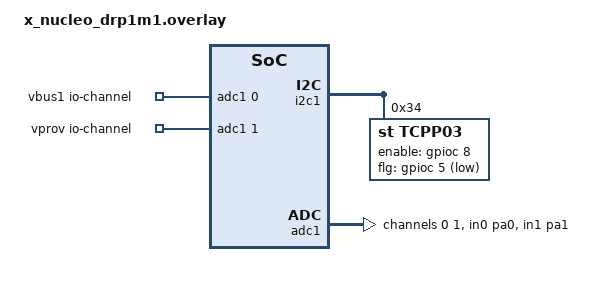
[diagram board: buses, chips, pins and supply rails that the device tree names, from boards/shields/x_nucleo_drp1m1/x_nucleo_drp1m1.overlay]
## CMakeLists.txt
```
# PD bench: a scriptable USB Power Delivery partner (embarch-host-study-proposal.md,
# phase 1). Not the dev-bench wire: a Zephyr shell on the board's console.

cmake_minimum_required(VERSION 3.20.0)

# The expansion board is a shield of this app (boards/shields/): the SNK1M1
# sink unless -DSHIELD=x_nucleo_drp1m1 asks for the dual-role DRP1M1
list(APPEND BOARD_ROOT ${CMAKE_CURRENT_SOURCE_DIR})
if(NOT DEFINED SHIELD)
  set(SHIELD x_nucleo_snk1m1)
endif()

find_package(Zephyr REQUIRED HINTS $ENV{ZEPHYR_BASE})
project(pd_bench)

target_sources(app PRIVATE src/main.c src/pd_logic.c)
target_sources_ifdef(CONFIG_USBC_CSM_DRP app PRIVATE src/tcpp03.c)
```

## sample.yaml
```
sample:
  name: PD bench
  description: A USB Power Delivery partner scripted over its shell
common:
  build_only: true
  platform_allow: nucleo_g0b1re
  integration_platforms:
    - nucleo_g0b1re
  tags: pd_bench
tests:
  pd_bench.snk1m1:
    tags: snk1m1
  pd_bench.drp1m1:
    tags: drp1m1
    extra_args: SHIELD=x_nucleo_drp1m1
```

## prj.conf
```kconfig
CONFIG_USBC_STACK=y
CONFIG_USBC_THREAD_PRIORITY=14
CONFIG_USBC_STACK_LOG_LEVEL_INF=y
CONFIG_ADC=y
CONFIG_GPIO=y
CONFIG_LOG=y
CONFIG_SHELL=y
CONFIG_ASSERT=y
CONFIG_MAIN_STACK_SIZE=2048
CONFIG_DEVMEM_SHELL=y
```

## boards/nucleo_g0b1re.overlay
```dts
/*
 * NUCLEO-G0B1RE: UCPD1 on CC1 PA8 and CC2 PB15, the pins both expansion
 * boards use. The rest comes from the shield (boards/shields/).
 */

#include <zephyr/dt-bindings/dma/stm32_dma.h>

&dma1 {
	status = "okay";
};

&dmamux1 {
	status = "okay";
};

&ucpd1 {
	status = "okay";
	/* HSI 16 MHz / 27 = 592.6 kHz half-bit clock, as on the STM32G081B-EVAL */
	psc-ucpdclk = <1>;
	hbitclkdiv = <27>;
	pinctrl-0 = <&ucpd1_cc1_pa8 &ucpd1_cc2_pb15>;
	pinctrl-names = "default";
	/*
	 * Messages by DMA (DMAMUX requests 58 UCPD1_RX, 59 UCPD1_TX): one
	 * interrupt per byte underran the transmitter and sent zero bytes
	 * under a valid CRC
	 */
	dmas = <&dmamux1 0 58 (STM32_DMA_PERIPH_RX | STM32_DMA_PRIORITY_VERY_HIGH)>,
	       <&dmamux1 1 59 (STM32_DMA_PERIPH_TX | STM32_DMA_PRIORITY_VERY_HIGH)>;
	dma-names = "rx", "tx";
};
```

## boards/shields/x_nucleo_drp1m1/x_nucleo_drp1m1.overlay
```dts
/*
 * X-NUCLEO-DRP1M1 (TCPP03-M20 dual-role protection) on a Nucleo-64 with an
 * STM32G0 (NUCLEO-G0B1RE, NUCLEO-G071RB).
 *
 * Pins as ST's X-CUBE-TCPP DRP1M1_DRP example sets them for the
 * NUCLEO-G071RB (drp1m1_conf.h, DRP1M1_DRP.ioc): CC1 PA8 and CC2 PB15 on
 * UCPD1, the TCPP03 on I2C1 (PB8 SCL, PB9 SDA) at 0x34 (0x68 in ST's 8-bit
 * form), ENABLE on PC8, FLGn on PC5, VBUS at the connector on PA0 =
 * ADC1_IN0 and the provider path (CN3) on PA1 = ADC1_IN1, both through
 * 200 k over 40.2 k (UM2891 1.7). No jumper on the DRP1M1: JP1 would feed
 * the Nucleo from the shield's LDO.
 *
 * The provider path switches the CN3 supply onto VBUS as it is: the bench
 * only offers 5 V, and checks CN3 is at vSafe5V before it sources.
 */

#include <zephyr/dt-bindings/usb-c/pd.h>

/ {
	aliases {
		usbc-port0 = &port1;
	};

	vbus1: vbus {
		compatible = "zephyr,usb-c-vbus-adc";
		io-channels = <&adc1 0>;
		output-ohms = <40200>;
		full-ohms = <(200000 + 40200)>;
	};

	vprov: vprov {
		compatible = "zephyr,usb-c-vbus-adc";
		io-channels = <&adc1 1>;
		output-ohms = <40200>;
		full-ohms = <(200000 + 40200)>;
	};

	ports {
		#address-cells = <1>;
		#size-cells = <0>;

		port1: usbc-port@1 {
			compatible = "usb-c-connector";
			reg = <1>;
			tcpc = <&ucpd1>;
			vbus = <&vbus1>;
			power-role = "dual";
			/* The most the bench offers as a source: pd srccaps stays within it */
			source-pdos = <PDO_FIXED(5000, 3000, PDO_FIXED_DUAL_ROLE)>;
			sink-pdos = <PDO_FIXED(5000, 3000, PDO_FIXED_DUAL_ROLE)
				     PDO_FIXED(9000, 3000, 0)
				     PDO_FIXED(15000, 3000, 0)
				     PDO_FIXED(20000, 3000, 0)
				     PDO_PPS_APDO(3300, 21000, 3000)>;
		};
	};
};

&i2c1 {
	tcpp03: tcpp03@34 {
		compatible = "st,tcpp03";
		reg = <0x34>;
		enable-gpios = <&gpioc 8 GPIO_ACTIVE_HIGH>;
		flg-gpios = <&gpioc 5 GPIO_ACTIVE_LOW>;
	};
};

/* PC5 is FLGn on the DRP1M1, not USART1 RX */
&usart1 {
	status = "disabled";
};

&adc1 {
	pinctrl-0 = <&adc1_in0_pa0 &adc1_in1_pa1>;
	pinctrl-names = "default";
	#address-cells = <1>;
	#size-cells = <0>;

	/* The dividers are about 33 k: the shortest sampling reads 13 % low */
	channel@0 {
		reg = <0>;
		zephyr,gain = "ADC_GAIN_1";
		zephyr,reference = "ADC_REF_INTERNAL";
		zephyr,acquisition-time = <ADC_ACQ_TIME_MAX>;
		zephyr,resolution = <12>;
		zephyr,vref-mv = <3300>;
	};

	channel@1 {
		reg = <1>;
		zephyr,gain = "ADC_GAIN_1";
		zephyr,reference = "ADC_REF_INTERNAL";
		zephyr,acquisition-time = <ADC_ACQ_TIME_MAX>;
		zephyr,resolution = <12>;
		zephyr,vref-mv = <3300>;
	};
};
```

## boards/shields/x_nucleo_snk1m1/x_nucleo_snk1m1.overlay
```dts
/*
 * X-NUCLEO-SNK1M1 (TCPP01-M12 sink protection) on a Nucleo-64 with an STM32G0
 * (NUCLEO-G0B1RE, NUCLEO-G071RB).
 *
 * Pins as ST's X-CUBE-TCPP SNK1M1 examples set them for the Nucleo-64
 * pinout: CC1 PA8 and CC2 PB15 on UCPD1, VBUS divider (200 k over 40 k)
 * on PB1 = ADC1_IN9, DB_OUT on PB6 (high: the TCPP01 releases its
 * dead-battery Rd to the UCPD), VCC_OUT on PC10 (high: TCPP01 supply).
 * On the SNK1M1, JP3 (LDO_OUT) and JP4 (RESET) off and J1/J2 in position
 * 1-2: fitted, JP4 holds the MCU in reset until USB-C powers the board.
 */

#include <zephyr/dt-bindings/usb-c/pd.h>

/ {
	aliases {
		usbc-port0 = &port1;
	};

	zephyr,user {
		tcpp-vcc-gpios = <&gpioc 10 GPIO_ACTIVE_HIGH>;
		tcpp-db-gpios = <&gpiob 6 GPIO_ACTIVE_HIGH>;
	};

	vbus1: vbus {
		compatible = "zephyr,usb-c-vbus-adc";
		io-channels = <&adc1 9>;
		output-ohms = <40000>;
		full-ohms = <(200000 + 40000)>;
	};

	ports {
		#address-cells = <1>;
		#size-cells = <0>;

		port1: usbc-port@1 {
			compatible = "usb-c-connector";
			reg = <1>;
			tcpc = <&ucpd1>;
			vbus = <&vbus1>;
			power-role = "sink";
			sink-pdos = <PDO_FIXED(5000, 3000, 0)
				     PDO_FIXED(9000, 3000, 0)
				     PDO_FIXED(15000, 3000, 0)
				     PDO_FIXED(20000, 3000, 0)
				     PDO_PPS_APDO(3300, 21000, 3000)>;
		};
	};
};

&adc1 {
	pinctrl-0 = <&adc1_in9_pb1>;
	pinctrl-names = "default";
	#address-cells = <1>;
	#size-cells = <0>;

	channel@9 {
		reg = <9>;
		zephyr,gain = "ADC_GAIN_1";
		zephyr,reference = "ADC_REF_INTERNAL";
		/* The divider is about 33 k: the shortest sampling reads 13 % low */
		zephyr,acquisition-time = <ADC_ACQ_TIME_MAX>;
		zephyr,resolution = <12>;
		zephyr,vref-mv = <3300>;
	};
};
```

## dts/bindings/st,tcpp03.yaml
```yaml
description: |
  STMicroelectronics TCPP03-M20 USB Type-C port protection with VBUS provider
  and consumer gate drivers. No Zephyr driver: the PD bench app drives it over
  I2C (src/tcpp03.c).

compatible: "st,tcpp03"

include: i2c-device.yaml

properties:
  enable-gpios:
    type: phandle-array
    required: true
    description: ENABLE, which powers the TCPP03's I2C interface

  flg-gpios:
    type: phandle-array
    required: true
    description: FLGn, open drain, low on a fault in Normal mode
```

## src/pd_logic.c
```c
/* PD bench: the pure half of the app (pd_logic.h). */

#include "pd_logic.h"

#include <errno.h>
#include <stdlib.h>
#include <string.h>

#include <zephyr/dt-bindings/usb-c/pd.h>
#include <zephyr/sys/util.h>

/* Power in mW from mV and mA */
#define MW(mv, ma) ((mv) * (ma) / 1000)
/* A base-10 number */
#define DECIMAL    10

bool PdLogicPdoIsFixed(uint32_t pdo)
{
	union pd_fixed_supply_pdo_source fixed = {.raw_value = pdo};

	return fixed.type == PDO_FIXED;
}

bool PdLogicPdoIsPps(uint32_t pdo)
{
	union pd_augmented_supply_pdo_source aug = {.raw_value = pdo};

	return aug.type == PDO_AUGMENTED &&
	       ((pdo >> PDO_APDO_TYPE_SHIFT) & PDO_APDO_TYPE_MASK) == APDO_TYPE_PPS;
}

int PdLogicFixedMv(uint32_t pdo)
{
	union pd_fixed_supply_pdo_source fixed = {.raw_value = pdo};

	return PD_CONVERT_FIXED_PDO_VOLTAGE_TO_MV(fixed.voltage);
}

int PdLogicFixedMa(uint32_t pdo)
{
	union pd_fixed_supply_pdo_source fixed = {.raw_value = pdo};

	return PD_CONVERT_FIXED_PDO_CURRENT_TO_MA(fixed.max_current);
}

uint32_t PdLogicRdoFixed(int pos, int ma)
{
	union pd_rdo rdo = {.raw_value = 0};

	rdo.fixed.object_pos = pos;
	rdo.fixed.operating_current = PD_CONVERT_MA_TO_FIXED_PDO_CURRENT(ma);
	rdo.fixed.min_or_max_operating_current = PD_CONVERT_MA_TO_FIXED_PDO_CURRENT(ma);
	rdo.fixed.no_usb_suspend = 1;

	return rdo.raw_value;
}

uint32_t PdLogicRdoPps(int pos, int mv, int ma)
{
	union pd_rdo rdo = {.raw_value = 0};

	rdo.augmented.object_pos = pos;
	rdo.augmented.output_voltage = PD_LOGIC_MV_TO_PPS_RDO_VOLTAGE(mv);
	rdo.augmented.operating_current = PD_CONVERT_MA_TO_AUGMENTED_PDO_CURRENT(ma);
	rdo.augmented.no_usb_suspend = 1;

	return rdo.raw_value;
}

int PdLogicRdoPos(uint32_t rdo)
{
	union pd_rdo r = {.raw_value = rdo};

	return r.fixed.object_pos;
}

uint32_t PdLogicRdoHighestPower(const uint32_t *caps, int cnt)
{
	int best_pos = 1;
	int best_mw = -1;
	int best_ma = PD_LOGIC_SAFE_MA;

	for (int i = 0; i < cnt; i++) {
		uint32_t pdo = caps[i];
		int ma;
		int mw;

		if (!PdLogicPdoIsFixed(pdo)) {
			continue;
		}
		ma = MIN(PdLogicFixedMa(pdo), PD_LOGIC_CABLE_MA);
		mw = MW(PdLogicFixedMv(pdo), ma);
		if (mw > best_mw) {
			best_mw = mw;
			best_pos = i + 1;
			best_ma = ma;
		}
	}

	return PdLogicRdoFixed(best_pos, best_ma);
}

uint32_t PdLogicRdoFor(const uint32_t *caps, int cnt, const struct pd_logic_want *want,
		       const char **why)
{
	uint32_t pdo;

	if (cnt == 0) {
		*why = "no source caps";
		return 0;
	}
	if (want->kind == PD_LOGIC_WANT_HIGHEST_POWER) {
		return PdLogicRdoHighestPower(caps, cnt);
	}
	if (want->pos < 1 || want->pos > cnt) {
		*why = "position not offered";
		return 0;
	}

	pdo = caps[want->pos - 1];
	if (want->kind == PD_LOGIC_WANT_FIXED) {
		if (!PdLogicPdoIsFixed(pdo)) {
			*why = "not a fixed PDO";
			return 0;
		}
		if (want->ma > PdLogicFixedMa(pdo)) {
			*why = "current above the PDO";
			return 0;
		}
		return PdLogicRdoFixed(want->pos,
				       want->ma > 0 ? want->ma
						    : MIN(PdLogicFixedMa(pdo), PD_LOGIC_CABLE_MA));
	}

	if (!PdLogicPdoIsPps(pdo)) {
		*why = "not a PPS APDO";
		return 0;
	}

	union pd_augmented_supply_pdo_source aug = {.raw_value = pdo};

	if (want->mv < PD_CONVERT_AUGMENTED_PDO_VOLTAGE_TO_MV(aug.min_voltage) ||
	    want->mv > PD_CONVERT_AUGMENTED_PDO_VOLTAGE_TO_MV(aug.max_voltage)) {
		*why = "voltage outside the APDO";
		return 0;
	}
	if (want->ma > PD_CONVERT_AUGMENTED_PDO_CURRENT_TO_MA(aug.max_current)) {
		*why = "current above the APDO";
		return 0;
	}

	return PdLogicRdoPps(want->pos, want->mv, want->ma);
}

bool PdLogicRequestFits(uint32_t pdo, uint32_t request)
{
	union pd_rdo rdo = {.raw_value = request};
	union pd_fixed_supply_pdo_source fixed = {.raw_value = pdo};

	return pdo != 0 && PdLogicPdoIsFixed(pdo) &&
	       rdo.fixed.operating_current <= fixed.max_current;
}

int PdLogicParseInt(const char *s, int *val)
{
	char *end;
	long v = strtol(s, &end, DECIMAL);

	if (*s == '\0' || *end != '\0' || v < 0 || v > PD_LOGIC_NUMBER_MAX) {
		return -EINVAL;
	}
	*val = (int)v;

	return 0;
}

/* Refuses with `err` and the voltage it concerns */
static int offer_refuse(struct pd_logic_offer_refusal *refusal, enum pd_logic_offer_err err, int mv)
{
	refusal->err = err;
	refusal->mv = mv;

	return -EINVAL;
}

int PdLogicOfferPdo(char *arg, int prev_mv, const uint32_t *offer_max, size_t offer_max_cnt,
		    uint32_t *pdo, int *mv, struct pd_logic_offer_refusal *refusal)
{
	char *colon = strchr(arg, ':');
	int ma;

	*refusal = (struct pd_logic_offer_refusal){.err = PD_LOGIC_OFFER_OK};
	if (colon == NULL) {
		return offer_refuse(refusal, PD_LOGIC_OFFER_NO_COLON, 0);
	}
	*colon = '\0';
	if (PdLogicParseInt(arg, mv) < 0) {
		refusal->bad_number = arg;
		return offer_refuse(refusal, PD_LOGIC_OFFER_BAD_NUMBER, 0);
	}
	if (PdLogicParseInt(colon + 1, &ma) < 0) {
		refusal->bad_number = colon + 1;
		return offer_refuse(refusal, PD_LOGIC_OFFER_BAD_NUMBER, *mv);
	}
	if (prev_mv == 0 && *mv != PD_LOGIC_FIRST_PDO_MV) {
		return offer_refuse(refusal, PD_LOGIC_OFFER_FIRST_NOT_5V, *mv);
	}
	if (*mv <= prev_mv) {
		return offer_refuse(refusal, PD_LOGIC_OFFER_NOT_RISING, *mv);
	}
	for (size_t i = 0; i < offer_max_cnt; i++) {
		if (!PdLogicPdoIsFixed(offer_max[i]) || PdLogicFixedMv(offer_max[i]) != *mv) {
			continue;
		}
		if (ma < PD_LOGIC_OFFER_MIN_MA || ma > PdLogicFixedMa(offer_max[i])) {
			refusal->max_ma = PdLogicFixedMa(offer_max[i]);
			return offer_refuse(refusal, PD_LOGIC_OFFER_CURRENT_OUT_OF_RANGE, *mv);
		}
		*pdo = (offer_max[i] & ~(PDO_CURR_MASK << PDO_FIXED_CURR_SHIFT)) |
		       PDO_FIXED_CURR(ma);
		return 0;
	}

	return offer_refuse(refusal, PD_LOGIC_OFFER_NOT_IN_DEVICETREE, *mv);
}
```

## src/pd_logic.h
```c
/* PD bench: the pure half of the app, PDO and RDO arithmetic and the shell's choice rules.
 *
 * No shell, kernel or device call lives here, so tests/logic runs it on
 * native_sim. main.c keeps the locking, the stack callbacks and every line the
 * shell prints.
 */

#ifndef PD_BENCH_PD_LOGIC_H_
#define PD_BENCH_PD_LOGIC_H_

#include <stdbool.h>
#include <stddef.h>
#include <stdint.h>

#include <zephyr/drivers/usb_c/usbc_pd.h>

/* `pd max` never asks for more than a cable without an e-marker carries */
#define PD_LOGIC_CABLE_MA     3000
/* What a 5 V Request asks for when nothing better is valid */
#define PD_LOGIC_SAFE_MA      500
/* A Source_Capabilities' first PDO is the vSafe5V one */
#define PD_LOGIC_FIRST_PDO_MV 5000
/* The least current `pd srccaps` offers in a PDO */
#define PD_LOGIC_OFFER_MIN_MA 10
/* The largest number the shell takes */
#define PD_LOGIC_NUMBER_MAX   100000

/* A PPS RDO's Output Voltage is in 20 mV units; usbc_pd.h has no macro for it */
#define PD_LOGIC_PPS_RDO_MV_PER_UNIT       20
#define PD_LOGIC_MV_TO_PPS_RDO_VOLTAGE(mv) ((mv) / PD_LOGIC_PPS_RDO_MV_PER_UNIT)
#define PD_LOGIC_PPS_RDO_VOLTAGE_TO_MV(v)  ((v) * PD_LOGIC_PPS_RDO_MV_PER_UNIT)

/* What the bench asks for as a sink */
enum pd_logic_want_kind {
	/* The highest power fixed PDO, at most PD_LOGIC_CABLE_MA: `pd max` */
	PD_LOGIC_WANT_HIGHEST_POWER,
	/* A fixed PDO, at its current or less: `pd req` */
	PD_LOGIC_WANT_FIXED,
	/* A PPS APDO at a voltage and current: `pd pps` */
	PD_LOGIC_WANT_PPS,
};

struct pd_logic_want {
	enum pd_logic_want_kind kind;
	/* 1-based object position; 0 mA for a fixed PDO means its own current */
	int pos;
	int mv;
	int ma;
};

/* Why `pd srccaps` refused one <mV>:<mA> PDO */
enum pd_logic_offer_err {
	PD_LOGIC_OFFER_OK,
	PD_LOGIC_OFFER_NO_COLON,
	PD_LOGIC_OFFER_BAD_NUMBER,
	PD_LOGIC_OFFER_FIRST_NOT_5V,
	PD_LOGIC_OFFER_NOT_RISING,
	PD_LOGIC_OFFER_CURRENT_OUT_OF_RANGE,
	PD_LOGIC_OFFER_NOT_IN_DEVICETREE,
	PD_LOGIC_OFFER_ERR_MAX,
};

/* A refusal: the reason, the text that was not a number, the voltage and the most it offers */
struct pd_logic_offer_refusal {
	enum pd_logic_offer_err err;
	const char *bad_number;
	int mv;
	int max_ma;
};

/* Whether a PDO is a fixed supply PDO */
bool PdLogicPdoIsFixed(uint32_t pdo);

/* Whether a PDO is a PPS APDO */
bool PdLogicPdoIsPps(uint32_t pdo);

/* A fixed PDO's voltage in mV */
int PdLogicFixedMv(uint32_t pdo);

/* A fixed PDO's maximum current in mA */
int PdLogicFixedMa(uint32_t pdo);

/* The RDO asking fixed PDO `pos` for `ma` operating and maximum current, No USB Suspend set */
uint32_t PdLogicRdoFixed(int pos, int ma);

/* The RDO asking PPS APDO `pos` for `mv` and `ma`, No USB Suspend set */
uint32_t PdLogicRdoPps(int pos, int mv, int ma);

/* The 1-based object position an RDO names */
int PdLogicRdoPos(uint32_t rdo);

/* `pd max`: the highest power fixed PDO at most PD_LOGIC_CABLE_MA, ties to the lower voltage */
uint32_t PdLogicRdoHighestPower(const uint32_t *caps, int cnt);

/* The RDO for a choice against the caps held, or 0 with the reason it is not valid in `why` */
uint32_t PdLogicRdoFor(const uint32_t *caps, int cnt, const struct pd_logic_want *want,
		       const char **why);

/* The source's Request check: a fixed PDO whose current covers the Request's operating current */
bool PdLogicRequestFits(uint32_t pdo, uint32_t request);

/* A shell number: decimal digits only, 0 to PD_LOGIC_NUMBER_MAX; -EINVAL otherwise */
int PdLogicParseInt(const char *s, int *val);

/*
 * One `pd srccaps` PDO, <mV>:<mA>: the first at PD_LOGIC_FIRST_PDO_MV, each above `prev_mv`
 * (0 for the first), at a voltage `offer_max` lists and within its current. Writes the PDO
 * and its voltage, or returns -EINVAL with the refusal. Cuts `arg` at its colon.
 */
int PdLogicOfferPdo(char *arg, int prev_mv, const uint32_t *offer_max, size_t offer_max_cnt,
		    uint32_t *pdo, int *mv, struct pd_logic_offer_refusal *refusal);

#endif /* PD_BENCH_PD_LOGIC_H_ */
```

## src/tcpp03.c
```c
/* TCPP03-M20 on the X-NUCLEO-DRP1M1, over I2C.
 *
 * Register map and sequences from ST's stm32-tcpp0203 driver (tcpp0203.h) and
 * the X-CUBE-TCPP DRP1M1 BSP (drp1m1_usbpd_pwr.c). Register 0 is the control
 * byte, written whole; register 1 acknowledges it; register 2 holds the fault
 * flags. Normal mode throughout: the TCPP03's dead-battery Rd is off, so the
 * UCPD toggles Rp and Rd itself, and FLGn falls only on a fault. A fault opens
 * both paths; only the recovery word clears it (UM2891 1.9).
 */

#include <errno.h>

#include <zephyr/device.h>
#include <zephyr/devicetree.h>
#include <zephyr/drivers/gpio.h>
#include <zephyr/drivers/i2c.h>
#include <zephyr/kernel.h>
#include <zephyr/logging/log.h>

#include "tcpp03.h"

LOG_MODULE_REGISTER(tcpp03, LOG_LEVEL_INF);

#define TCPP03_NODE DT_COMPAT_GET_ANY_STATUS_OKAY(st_tcpp03)

#define REG_CTRL  0x00
#define REG_ACK   0x01
#define REG_FLAGS 0x02

/* Register 0: GDP closed connects the provider path, GDC set opens the consumer path */
#define CTRL_GDP_CLOSED     BIT(2)
#define CTRL_GDC_OPEN       BIT(3)
#define CTRL_MODE_NORMAL    (1 << 4)
#define CTRL_VBUS_DISCHARGE BIT(6)

/* Both paths open: also the recovery word for Normal mode (UM2891 1.9) */
#define CTRL_OPEN       (CTRL_MODE_NORMAL | CTRL_GDC_OPEN)
#define CTRL_IDLE       CTRL_MODE_NORMAL
#define CTRL_SOURCE     (CTRL_MODE_NORMAL | CTRL_GDC_OPEN | CTRL_GDP_CLOSED)
#define CTRL_SOURCE_OFF (CTRL_MODE_NORMAL | CTRL_GDC_OPEN | CTRL_VBUS_DISCHARGE)

/* Register 2 bit 7 is set on a TCPP02, which has no consumer gate driver */
#define FLAG_TCPP02 BIT(7)
#define FLAG_FAULTS                                                                                \
	(TCPP03_FLAG_OCP_VCONN | TCPP03_FLAG_OCP_VBUS | TCPP03_FLAG_OVP_VBUS |                     \
	 TCPP03_FLAG_OVP_CC | TCPP03_FLAG_OTP)

/* ST's BSP waits this long between opening the consumer path and closing the provider path */
#define GATE_SWAP_MS 2

static const struct i2c_dt_spec i2c = I2C_DT_SPEC_GET(TCPP03_NODE);
static const struct gpio_dt_spec enable = GPIO_DT_SPEC_GET(TCPP03_NODE, enable_gpios);
static const struct gpio_dt_spec flg = GPIO_DT_SPEC_GET(TCPP03_NODE, flg_gpios);

static K_MUTEX_DEFINE(lock);
static uint8_t ctrl;
static tcpp03_fault_cb_t fault_cb;
static struct gpio_callback flg_cb;
static struct k_work fault_work;

static int ctrl_write(uint8_t val)
{
	int ret = i2c_reg_write_byte_dt(&i2c, REG_CTRL, val);

	if (ret == 0) {
		ctrl = val;
	}

	return ret;
}

static void fault_handler(struct k_work *work)
{
	uint8_t flags = 0;
	int ret;

	ARG_UNUSED(work);

	k_mutex_lock(&lock, K_FOREVER);
	ret = i2c_reg_read_byte_dt(&i2c, REG_FLAGS, &flags);
	if (ret == 0 && (flags & FLAG_FAULTS) != 0) {
		ret = ctrl_write(CTRL_OPEN);
		if (ret == 0) {
			ret = ctrl_write(CTRL_IDLE);
		}
	}
	k_mutex_unlock(&lock);

	if (ret == 0 && (flags & FLAG_FAULTS) == 0) {
		LOG_WRN("FLGn fell without a fault flag (0x%02x)", flags);
		return;
	}
	if (ret < 0) {
		LOG_ERR("fault flags not read or cleared: %d", ret);
	} else {
		LOG_ERR("fault, flags 0x%02x: both paths open", flags);
	}
	fault_cb(flags & FLAG_FAULTS);
}

static void flg_isr(const struct device *port, struct gpio_callback *cb, uint32_t pins)
{
	ARG_UNUSED(port);
	ARG_UNUSED(cb);
	ARG_UNUSED(pins);

	k_work_submit(&fault_work);
}

int tcpp03_init(tcpp03_fault_cb_t cb)
{
	uint8_t flags;
	int ret;

	if (!i2c_is_ready_dt(&i2c) || !gpio_is_ready_dt(&enable) || !gpio_is_ready_dt(&flg)) {
		return -ENODEV;
	}

	fault_cb = cb;
	k_work_init(&fault_work, fault_handler);

	ret = gpio_pin_configure_dt(&enable, GPIO_OUTPUT_ACTIVE);
	if (ret < 0) {
		return ret;
	}
	/* The I2C interface is powered from ENABLE */
	k_msleep(1);

	ret = i2c_reg_read_byte_dt(&i2c, REG_FLAGS, &flags);
	if (ret < 0) {
		return ret;
	}
	if (flags & FLAG_TCPP02) {
		LOG_ERR("a TCPP02, not a TCPP03");
		return -ENODEV;
	}

	/* A fault latched before an MCU reset survives it: the recovery word clears it */
	ret = ctrl_write(CTRL_OPEN);
	if (ret == 0) {
		ret = ctrl_write(CTRL_IDLE);
	}
	if (ret < 0) {
		return ret;
	}

	ret = gpio_pin_configure_dt(&flg, GPIO_INPUT);
	if (ret < 0) {
		return ret;
	}
	gpio_init_callback(&flg_cb, flg_isr, BIT(flg.pin));
	ret = gpio_add_callback(flg.port, &flg_cb);
	if (ret < 0) {
		return ret;
	}

	return gpio_pin_interrupt_configure_dt(&flg, GPIO_INT_EDGE_TO_ACTIVE);
}

int tcpp03_source(bool on)
{
	int ret;

	k_mutex_lock(&lock, K_FOREVER);
	if (on) {
		/* The TCPP03 refuses both paths closed; ST's BSP opens the consumer path first */
		ret = ctrl_write(CTRL_OPEN);
		if (ret == 0) {
			k_msleep(GATE_SWAP_MS);
			ret = ctrl_write(CTRL_SOURCE);
		}
	} else {
		ret = ctrl_write(CTRL_SOURCE_OFF);
	}
	k_mutex_unlock(&lock);

	return ret;
}

int tcpp03_idle(void)
{
	int ret;

	k_mutex_lock(&lock, K_FOREVER);
	ret = ctrl_write(CTRL_IDLE);
	k_mutex_unlock(&lock);

	return ret;
}

int tcpp03_regs(uint8_t *ctrl_out, uint8_t *ack, uint8_t *flags)
{
	int ret;

	k_mutex_lock(&lock, K_FOREVER);
	*ctrl_out = ctrl;
	ret = i2c_reg_read_byte_dt(&i2c, REG_ACK, ack);
	if (ret == 0) {
		ret = i2c_reg_read_byte_dt(&i2c, REG_FLAGS, flags);
	}
	k_mutex_unlock(&lock);

	return ret;
}
```

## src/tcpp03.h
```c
/* TCPP03-M20 USB Type-C port protection, driven over I2C: the X-NUCLEO-DRP1M1's
 * provider (source) and consumer (sink) paths, VBUS discharge and fault flags.
 */

#ifndef PD_BENCH_TCPP03_H_
#define PD_BENCH_TCPP03_H_

#include <stdbool.h>
#include <stdint.h>

#include <zephyr/sys/util.h>

/* Register 2 fault flags; any of them opens both paths until the recovery word */
#define TCPP03_FLAG_OCP_VCONN BIT(0)
#define TCPP03_FLAG_OCP_VBUS  BIT(1)
#define TCPP03_FLAG_OVP_VBUS  BIT(2)
#define TCPP03_FLAG_OVP_CC    BIT(3)
#define TCPP03_FLAG_OTP       BIT(4)
#define TCPP03_FLAG_VBUS_OK   BIT(5)

/* Called from the system work queue after a fault, the flags already cleared */
typedef void (*tcpp03_fault_cb_t)(uint8_t flags);

/* Enable the TCPP03, clear any fault and leave it idle in Normal mode */
int tcpp03_init(tcpp03_fault_cb_t cb);

/*
 * On, the consumer path opens, then the provider path closes onto VBUS. Off,
 * the provider path opens and VBUS discharges until tcpp03_idle().
 */
int tcpp03_source(bool on);

/* No sourcing, no discharge, the consumer path closed: the sink's and the toggling port's state */
int tcpp03_idle(void);

/* The control byte last written, its acknowledge register and the fault flags */
int tcpp03_regs(uint8_t *ctrl, uint8_t *ack, uint8_t *flags);

#endif /* PD_BENCH_TCPP03_H_ */
```
